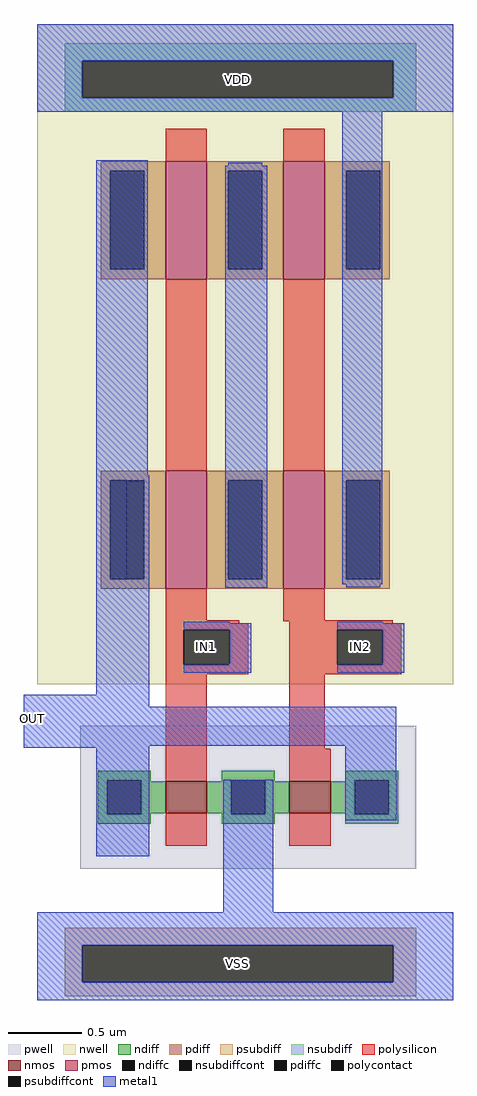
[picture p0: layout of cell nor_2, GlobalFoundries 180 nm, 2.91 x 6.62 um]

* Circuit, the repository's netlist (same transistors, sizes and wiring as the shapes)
* NGSPICE file created from nor_2.ext - technology: gf180mcuC

.subckt pmos_3p3_M8SWPS a_n28_n124# a_n116_n80# a_28_n80# w_n202_n210#
X0 a_28_n80# a_n28_n124# a_n116_n80# w_n202_n210# pfet_03v3 ad=0.352p pd=2.48u as=0.352p ps=2.48u w=0.8u l=0.28u
.ends

.subckt nmos_3p3_DDNVWA a_n120_n36# a_28_n22# a_n28_n66# VSUBS
X0 a_28_n22# a_n28_n66# a_n120_n36# VSUBS nfet_03v3 ad=0.152p pd=1.64u as=0.152p ps=1.64u w=0.22u l=0.28u
.ends

.subckt nor_2 VDD VSS IN1 IN2 OUT
Xpmos_3p3_M8SWPS_0 IN2 m1_585_999# VDD VDD pmos_3p3_M8SWPS
Xpmos_3p3_M8SWPS_1 IN1 OUT m1_585_999# VDD pmos_3p3_M8SWPS
Xpmos_3p3_M8SWPS_2 IN2 m1_585_999# VDD VDD pmos_3p3_M8SWPS
Xpmos_3p3_M8SWPS_3 IN1 OUT m1_585_999# VDD pmos_3p3_M8SWPS
Xnmos_3p3_DDNVWA_0 VSS OUT IN2 VSS nmos_3p3_DDNVWA
Xnmos_3p3_DDNVWA_1 OUT VSS IN1 VSS nmos_3p3_DDNVWA
.ends

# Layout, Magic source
magic
tech gf180mcuC
magscale 1 10
<< nwell >>
rect 330 1708 894 1764
rect 391 1697 813 1708
rect 475 998 476 1156
rect 560 953 604 955
rect 529 951 604 953
rect 528 940 620 951
rect 720 942 768 955
rect 529 928 591 940
rect 530 898 584 928
rect 529 894 591 898
rect 530 891 584 894
rect 597 888 620 940
rect 528 884 620 888
rect 528 882 616 884
rect 528 878 598 882
<< pwell >>
rect 599 785 621 786
<< pdiff >>
rect 451 1011 475 1152
rect 451 1000 476 1011
rect 452 998 476 1000
<< psubdiff >>
rect 367 514 844 538
rect 367 464 391 514
rect 813 464 844 514
rect 367 445 844 464
<< nsubdiff >>
rect 367 1714 844 1738
rect 367 1664 391 1714
rect 813 1664 844 1714
rect 367 1645 844 1664
<< psubdiffcont >>
rect 391 464 813 514
<< nsubdiffcont >>
rect 391 1664 813 1714
<< polysilicon >>
rect 504 1202 560 1374
rect 664 1202 720 1374
rect 560 954 604 955
rect 720 954 812 955
rect 504 951 604 954
rect 672 951 812 954
rect 504 942 616 951
rect 504 895 529 942
rect 591 896 616 942
rect 590 895 616 896
rect 504 882 616 895
rect 672 942 824 951
rect 672 895 737 942
rect 799 896 824 942
rect 798 895 824 896
rect 672 882 824 895
rect 504 781 560 882
rect 672 781 720 882
<< polycontact >>
rect 529 896 591 942
rect 529 895 590 896
rect 737 896 799 942
rect 737 895 798 896
<< metal1 >>
rect 330 1714 894 1764
rect 330 1664 391 1714
rect 813 1664 894 1714
rect 330 1645 894 1664
rect 410 1152 480 1579
rect 410 854 482 1152
rect 585 999 642 1572
rect 744 1004 798 1645
rect 529 951 591 953
rect 737 951 799 953
rect 529 942 620 951
rect 591 896 620 942
rect 590 895 620 896
rect 529 884 620 895
rect 737 942 828 951
rect 799 896 828 942
rect 798 895 828 896
rect 737 884 828 895
rect 312 838 482 854
rect 312 785 817 838
rect 312 782 482 785
rect 410 635 482 782
rect 582 559 650 739
rect 748 684 817 785
rect 330 514 894 559
rect 330 464 391 514
rect 813 464 894 514
rect 330 440 894 464
use nmos_3p3_DDNVWA  nmos_3p3_DDNVWA_0
transform 1 0 700 0 1 715
box -144 -97 144 97
use nmos_3p3_DDNVWA  nmos_3p3_DDNVWA_1
transform 1 0 532 0 1 715
box -144 -97 144 97
use pmos_3p3_M8SWPS  pmos_3p3_M8SWPS_0
transform 1 0 692 0 1 1498
box -202 -210 202 210
use pmos_3p3_M8SWPS  pmos_3p3_M8SWPS_1
transform 1 0 532 0 1 1498
box -202 -210 202 210
use pmos_3p3_M8SWPS  pmos_3p3_M8SWPS_2
transform 1 0 692 0 1 1078
box -202 -210 202 210
use pmos_3p3_M8SWPS  pmos_3p3_M8SWPS_3
transform 1 0 532 0 1 1078
box -202 -210 202 210
<< labels >>
flabel nsubdiffcont 602 1689 602 1689 0 FreeSans 640 0 0 0 VDD
port 0 nsew
flabel psubdiffcont 601 489 601 489 0 FreeSans 640 0 0 0 VSS
port 1 nsew
flabel polycontact 559 919 559 920 0 FreeSans 640 0 0 0 IN1
port 2 nsew
flabel polycontact 768 919 768 919 0 FreeSans 640 0 0 0 IN2
port 3 nsew
flabel metal1 324 822 324 822 0 FreeSans 640 0 0 0 OUT
port 5 nsew
<< end >>

# cell nmos_3p3_DDNVWA: kit device nmos_3p3, w 0.220 l 0.280 m 1 nf 1 diffcov 100 polycov 100 guard 0 glc 0 grc 0 gtc 0 gbc 0 tbcov 100 rlcov 100 topc 0 botc 0 poverlap 0 doverlap 1 lmin 0.28 wmin 0.22 full_metal 0 compatible {nmos_3p3 nmos_6p0 nmos_6p0_nat}

# cell pmos_3p3_M8SWPS: kit device pmos_3p3, w 0.80 l 0.280 m 1 nf 1 diffcov 100 polycov 100 guard 0 glc 0 grc 0 gtc 0 gbc 0 tbcov 100 rlcov 100 topc 0 botc 0 poverlap 0 doverlap 1 lmin 0.28 wmin 0.22 full_metal 0 compatible {pmos_3p3 pmos_6p0}
